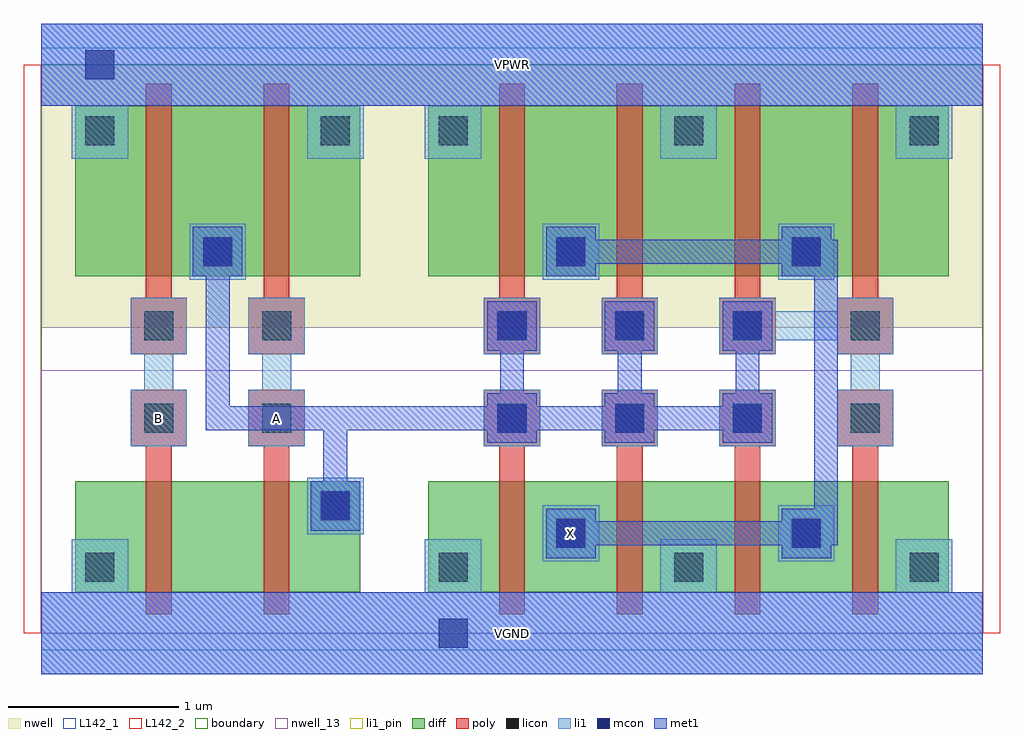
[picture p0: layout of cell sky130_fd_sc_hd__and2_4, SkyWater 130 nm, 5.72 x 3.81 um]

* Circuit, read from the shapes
.subckt sky130_fd_sc_hd__and2_4 A B VGND VPWR X
XM1 n1 B VGND VSUBS sky130_fd_pr__nfet_01v8 w=0.65 l=0.15
XM2 n2 A n1 VSUBS sky130_fd_pr__nfet_01v8 w=0.65 l=0.15
XM3 X n2 VGND VSUBS sky130_fd_pr__nfet_01v8 w=0.65 l=0.15 m=4
XM4 n2 B VPWR n3 sky130_fd_pr__pfet_01v8 w=1 l=0.15
XM5 VPWR A n2 n3 sky130_fd_pr__pfet_01v8 w=1 l=0.15
XM6 X n2 VPWR n3 sky130_fd_pr__pfet_01v8 w=1 l=0.15 m=4
.ends

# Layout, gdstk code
import gdstk
lib = gdstk.Library(unit=1e-6, precision=1e-09)
def R(c, l, rs):  # rectangles x0, y0, x1, y1
    for r in rs: c.add(gdstk.rectangle(r[:2], r[2:], *l))
def A(c, l, x, y, w, h, nx, ny, dx, dy):  # array of equal rectangles
    R(c, l, [(x+i*dx, y+j*dy, x+i*dx+w, y+j*dy+h) for i in range(nx) for j in range(ny)])
def P(c, l, *ps):  # polygons
    for p in ps: c.add(gdstk.Polygon(p, *l))
nwell_13 = (64, 13)
nwell = (64, 20)
diff = (65, 20)
poly = (66, 20)
licon = (66, 44)
li1_pin = (67, 16)
li1 = (67, 20)
mcon = (67, 44)
met1 = (68, 20)
L142_1 = (142, 1)
L142_2 = (142, 2)
boundary = (235, 4)

sky130_fd_sc_hd__and2_4 = lib.new_cell('sky130_fd_sc_hd__and2_4')
R(sky130_fd_sc_hd__and2_4, nwell_13, [(0,0,5.52,1.54)])
R(sky130_fd_sc_hd__and2_4, nwell, [(0,1.79,5.52,3.33)])
A(sky130_fd_sc_hd__and2_4, diff, 2.685, 0.24, 0.69, 0.65, 3, 1, 0.69, 0)
A(sky130_fd_sc_hd__and2_4, diff, 2.685, 2.09, 0.69, 1, 3, 1, 0.69, 0)
R(sky130_fd_sc_hd__and2_4, diff, [(0.2,0.24,1.87,0.89), (0.2,0.24,0.615,0.89), (0.615,0.24,1.305,0.89), (1.305,0.24,1.87,0.89), (2.27,0.24,5.32,0.89), (2.27,0.24,2.685,0.89), (4.755,0.24,5.32,0.89), (0.2,2.09,1.87,3.09), (0.2,2.09,0.615,3.09), (0.615,2.09,1.305,3.09), (1.305,2.09,1.87,3.09), (2.27,2.09,5.32,3.09), (2.27,2.09,2.685,3.09), (4.755,2.09,5.32,3.09)])
P(sky130_fd_sc_hd__and2_4, poly, [(0.615,0.11),(0.615,1.095),(0.525,1.095),(0.525,1.425),(0.855,1.425),(0.855,1.095),(0.765,1.095),(0.765,0.11)],
  [(0.525,1.635),(0.525,1.965),(0.615,1.965),(0.615,3.22),(0.765,3.22),(0.765,1.965),(0.855,1.965),(0.855,1.635)],
  [(2.685,0.11),(2.685,1.095),(2.595,1.095),(2.595,1.425),(2.925,1.425),(2.925,1.095),(2.835,1.095),(2.835,0.11)],
  [(3.375,0.11),(3.375,1.095),(3.285,1.095),(3.285,1.425),(3.615,1.425),(3.615,1.095),(3.525,1.095),(3.525,0.11)],
  [(4.065,0.11),(4.065,1.095),(3.975,1.095),(3.975,1.425),(4.305,1.425),(4.305,1.095),(4.215,1.095),(4.215,0.11)],
  [(4.755,0.11),(4.755,1.095),(4.665,1.095),(4.665,1.425),(4.995,1.425),(4.995,1.095),(4.905,1.095),(4.905,0.11)],
  [(2.595,1.635),(2.595,1.965),(2.685,1.965),(2.685,3.22),(2.835,3.22),(2.835,1.965),(2.925,1.965),(2.925,1.635)],
  [(3.285,1.635),(3.285,1.965),(3.375,1.965),(3.375,3.22),(3.525,3.22),(3.525,1.965),(3.615,1.965),(3.615,1.635)],
  [(3.975,1.635),(3.975,1.965),(4.065,1.965),(4.065,3.22),(4.215,3.22),(4.215,1.965),(4.305,1.965),(4.305,1.635)],
  [(4.665,1.635),(4.665,1.965),(4.755,1.965),(4.755,3.22),(4.905,3.22),(4.905,1.965),(4.995,1.965),(4.995,1.635)],
  [(1.305,0.11),(1.305,1.095),(1.215,1.095),(1.215,1.425),(1.545,1.425),(1.545,1.095),(1.455,1.095),(1.455,0.11)],
  [(1.215,1.635),(1.215,1.965),(1.305,1.965),(1.305,3.22),(1.455,3.22),(1.455,1.965),(1.545,1.965),(1.545,1.635)])
A(sky130_fd_sc_hd__and2_4, licon, 2.33, 0.3, 0.17, 0.17, 3, 2, 1.38, 2.56)
A(sky130_fd_sc_hd__and2_4, licon, 2.675, 1.175, 0.17, 0.17, 4, 2, 0.69, 0.54)
R(sky130_fd_sc_hd__and2_4, licon, [(0.26,0.3,0.43,0.47), (3.02,0.5,3.19,0.67), (4.4,0.5,4.57,0.67), (1.64,0.66,1.81,0.83), (0.605,1.175,0.775,1.345), (1.295,1.175,1.465,1.345), (0.605,1.715,0.775,1.885), (1.295,1.715,1.465,1.885), (0.95,2.15,1.12,2.32), (3.02,2.15,3.19,2.32), (4.4,2.15,4.57,2.32), (0.26,2.86,0.43,3.03), (1.64,2.86,1.81,3.03)])
R(sky130_fd_sc_hd__and2_4, li1_pin, [(0,-0.24,5.52,0.24), (2.94,0.42,3.27,0.75), (0,3.09,5.52,3.57)])
P(sky130_fd_sc_hd__and2_4, li1_pin, [(0.525,1.095),(0.525,1.425),(0.605,1.425),(0.605,1.635),(0.525,1.635),(0.525,1.965),(0.855,1.965),(0.855,1.635),(0.775,1.635),(0.775,1.425),(0.855,1.425),(0.855,1.095)],
  [(1.215,1.095),(1.215,1.425),(1.295,1.425),(1.295,1.635),(1.215,1.635),(1.215,1.965),(1.545,1.965),(1.545,1.635),(1.465,1.635),(1.465,1.425),(1.545,1.425),(1.545,1.095)])
A(sky130_fd_sc_hd__and2_4, li1, 2.595, 1.095, 0.33, 0.33, 3, 1, 0.69, 0)
R(sky130_fd_sc_hd__and2_4, li1, [(2.94,0.42,3.27,0.75), (4.32,0.42,4.65,0.75), (1.56,0.58,1.89,0.91), (2.595,1.635,2.925,1.965), (3.285,1.635,3.615,1.965), (0.87,2.07,1.2,2.4), (2.94,2.07,3.27,2.4), (4.32,2.07,4.65,2.4)])
P(sky130_fd_sc_hd__and2_4, li1, [(0.525,1.095),(0.525,1.425),(0.605,1.425),(0.605,1.635),(0.525,1.635),(0.525,1.965),(0.855,1.965),(0.855,1.635),(0.775,1.635),(0.775,1.425),(0.855,1.425),(0.855,1.095)],
  [(4.665,1.095),(4.665,1.425),(4.745,1.425),(4.745,1.635),(4.665,1.635),(4.665,1.715),(4.305,1.715),(4.305,1.635),(3.975,1.635),(3.975,1.965),(4.305,1.965),(4.305,1.885),(4.665,1.885),(4.665,1.965),(4.995,1.965),(4.995,1.635),(4.915,1.635),(4.915,1.425),(4.995,1.425),(4.995,1.095)],
  [(0.18,2.78),(0.18,3.09),(0,3.09),(0,3.57),(5.52,3.57),(5.52,3.09),(5.34,3.09),(5.34,2.78),(5.01,2.78),(5.01,3.09),(3.96,3.09),(3.96,2.78),(3.63,2.78),(3.63,3.09),(2.58,3.09),(2.58,2.78),(2.25,2.78),(2.25,3.09),(1.89,3.09),(1.89,2.78),(1.56,2.78),(1.56,3.09),(0.51,3.09),(0.51,2.78)],
  [(0,-0.24),(0,0.24),(0.18,0.24),(0.18,0.55),(0.51,0.55),(0.51,0.24),(2.25,0.24),(2.25,0.55),(2.58,0.55),(2.58,0.24),(3.63,0.24),(3.63,0.55),(3.96,0.55),(3.96,0.24),(5.01,0.24),(5.01,0.55),(5.34,0.55),(5.34,0.24),(5.52,0.24),(5.52,-0.24)],
  [(1.215,1.095),(1.215,1.425),(1.295,1.425),(1.295,1.635),(1.215,1.635),(1.215,1.965),(1.545,1.965),(1.545,1.635),(1.465,1.635),(1.465,1.425),(1.545,1.425),(1.545,1.095)])
A(sky130_fd_sc_hd__and2_4, mcon, 2.675, 1.175, 0.17, 0.17, 3, 2, 0.69, 0.54)
R(sky130_fd_sc_hd__and2_4, mcon, [(2.33,-0.085,2.5,0.085), (3.02,0.5,3.19,0.67), (4.4,0.5,4.57,0.67), (1.64,0.66,1.81,0.83), (0.95,2.15,1.12,2.32), (3.02,2.15,3.19,2.32), (4.4,2.15,4.57,2.32), (0.26,3.245,0.43,3.415)])
R(sky130_fd_sc_hd__and2_4, met1, [(0,-0.24,5.52,0.24), (0,3.09,5.52,3.57)])
P(sky130_fd_sc_hd__and2_4, met1, [(1.58,0.6),(1.58,0.89),(1.655,0.89),(1.655,1.19),(0.965,1.19),(0.965,2.09),(0.89,2.09),(0.89,2.38),(1.18,2.38),(1.18,2.09),(1.105,2.09),(1.105,1.33),(2.615,1.33),(2.615,1.405),(2.69,1.405),(2.69,1.655),(2.615,1.655),(2.615,1.945),(2.905,1.945),(2.905,1.655),(2.83,1.655),(2.83,1.405),(2.905,1.405),(2.905,1.33),(3.305,1.33),(3.305,1.405),(3.38,1.405),(3.38,1.655),(3.305,1.655),(3.305,1.945),(3.595,1.945),(3.595,1.655),(3.52,1.655),(3.52,1.405),(3.595,1.405),(3.595,1.33),(3.995,1.33),(3.995,1.405),(4.07,1.405),(4.07,1.655),(3.995,1.655),(3.995,1.945),(4.285,1.945),(4.285,1.655),(4.21,1.655),(4.21,1.405),(4.285,1.405),(4.285,1.115),(3.995,1.115),(3.995,1.19),(3.595,1.19),(3.595,1.115),(3.305,1.115),(3.305,1.19),(2.905,1.19),(2.905,1.115),(2.615,1.115),(2.615,1.19),(1.795,1.19),(1.795,0.89),(1.87,0.89),(1.87,0.6)],
  [(2.96,0.44),(2.96,0.73),(3.25,0.73),(3.25,0.655),(4.34,0.655),(4.34,0.73),(4.53,0.73),(4.53,2.09),(4.34,2.09),(4.34,2.165),(3.25,2.165),(3.25,2.09),(2.96,2.09),(2.96,2.38),(3.25,2.38),(3.25,2.305),(4.34,2.305),(4.34,2.38),(4.63,2.38),(4.63,2.305),(4.67,2.305),(4.67,0.515),(4.63,0.515),(4.63,0.44),(4.34,0.44),(4.34,0.515),(3.25,0.515),(3.25,0.44)])
R(sky130_fd_sc_hd__and2_4, L142_1, [(0,-0.1,5.52,0), (0,3.33,5.52,3.43)])
R(sky130_fd_sc_hd__and2_4, L142_2, [(-0.1,0,0,3.33), (5.52,0,5.62,3.33)])
R(sky130_fd_sc_hd__and2_4, boundary, [(0,0,5.52,3.33)])
sky130_fd_sc_hd__and2_4.add(gdstk.Label('X', (3.105,0.585), layer=67, texttype=5))
sky130_fd_sc_hd__and2_4.add(gdstk.Label('B', (0.69,1.26), layer=67, texttype=5))
sky130_fd_sc_hd__and2_4.add(gdstk.Label('A', (1.38,1.26), layer=67, texttype=5))
sky130_fd_sc_hd__and2_4.add(gdstk.Label('VGND', (2.76,0), layer=67, texttype=5))
sky130_fd_sc_hd__and2_4.add(gdstk.Label('VPWR', (2.76,3.33), layer=67, texttype=5))
sky130_fd_sc_hd__and2_4.add(gdstk.Label('VGND', (2.76,0), layer=68, texttype=5))
sky130_fd_sc_hd__and2_4.add(gdstk.Label('VPWR', (2.76,3.33), layer=68, texttype=5))

lib.write_gds('sky130_fd_sc_hd__and2_4.gds')
